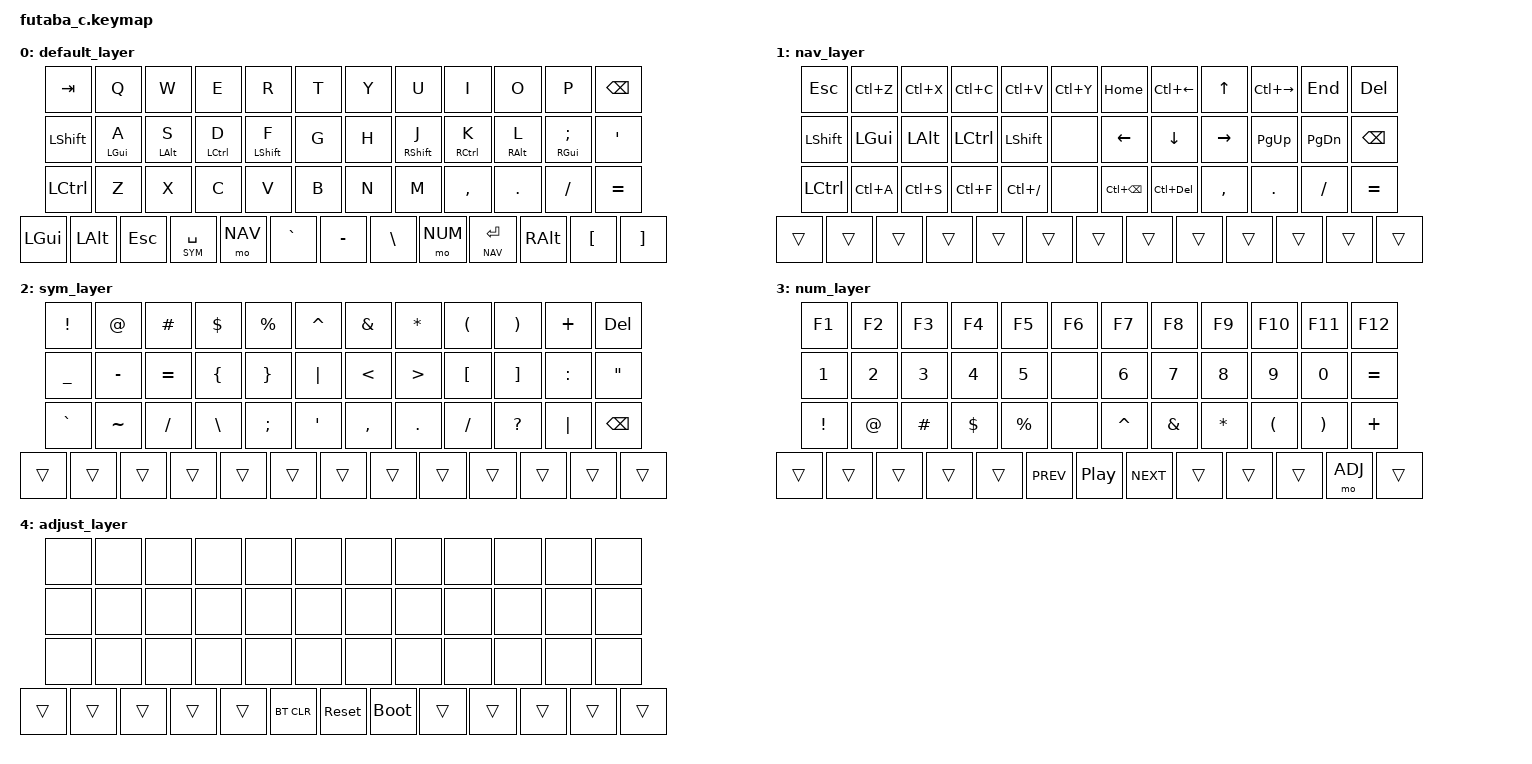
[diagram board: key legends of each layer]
/*
 * Copyright (c) 2026
 *
 * SPDX-License-Identifier: MIT
 */

#include <behaviors.dtsi>
#include <dt-bindings/zmk/bt.h>
#include <dt-bindings/zmk/keys.h>

#define NAV 1
#define SYM 2
#define NUM 3
#define ADJ 4

&lt { quick-tap-ms = <175>; };

&mt { quick-tap-ms = <175>; };

/ {
    behaviors {
        hm: homerow_mods {
            compatible = "zmk,behavior-hold-tap";
            flavor = "tap-preferred";
            tapping-term-ms = <220>;
            quick-tap-ms = <150>;
            require-prior-idle-ms = <120>;
            bindings = <&kp>, <&kp>;
        };
    };

    keymap {
        compatible = "zmk,keymap";

        default_layer {
            bindings = <
&kp TAB    &kp Q        &kp W        &kp E         &kp R          &kp T                  &kp Y      &kp U          &kp I          &kp O        &kp P          &kp BSPC
&kp LSHFT  &hm LGUI A   &hm LALT S   &hm LCTRL D   &hm LSHFT F    &kp G                  &kp H      &hm RSHFT J    &hm RCTRL K    &hm RALT L   &hm RGUI SEMI  &kp SQT
&kp LCTRL  &kp Z        &kp X        &kp C         &kp V          &kp B                  &kp N      &kp M          &kp COMMA      &kp DOT      &kp FSLH       &kp EQUAL
            &kp LGUI    &kp LALT     &kp ESC       &lt SYM SPACE  &mo NAV     &kp GRAVE   &kp MINUS  &kp BACKSLASH  &mo NUM        &lt NAV ENTER &kp RALT     &kp LBKT       &kp RBKT
            >;
        };

        nav_layer {
            bindings = <
&kp ESC    &kp LC(Z)    &kp LC(X)    &kp LC(C)     &kp LC(V)      &kp LC(Y)               &kp HOME   &kp LC(LEFT)   &kp UP         &kp LC(RIGHT) &kp END      &kp DEL
&kp LSHFT  &kp LGUI     &kp LALT     &kp LCTRL     &kp LSHFT      &none                   &kp LEFT   &kp DOWN       &kp RIGHT      &kp PG_UP     &kp PG_DN    &kp BSPC
&kp LCTRL  &kp LC(A)    &kp LC(S)    &kp LC(F)     &kp LC(FSLH)   &none                   &kp LC(BSPC) &kp LC(DEL)   &kp COMMA      &kp DOT       &kp FSLH     &kp EQUAL
            &trans      &trans       &trans        &trans         &trans       &trans      &trans     &trans         &trans         &trans        &trans       &trans        &trans
            >;
        };

        sym_layer {
            bindings = <
&kp EXCL   &kp AT       &kp HASH     &kp DLLR      &kp PRCNT      &kp CARET              &kp AMPS   &kp STAR       &kp LPAR       &kp RPAR      &kp PLUS     &kp DEL
&kp UNDER  &kp MINUS    &kp EQUAL    &kp LBRC      &kp RBRC       &kp PIPE               &kp LT     &kp GT         &kp LBKT       &kp RBKT      &kp COLON    &kp DQT
&kp GRAVE  &kp TILDE    &kp FSLH     &kp BACKSLASH &kp SEMI       &kp SQT                &kp COMMA  &kp DOT        &kp FSLH       &kp QUESTION  &kp PIPE     &kp BSPC
            &trans      &trans       &trans        &trans         &trans       &trans     &trans     &trans         &trans         &trans        &trans       &trans        &trans
            >;
        };

        num_layer {
            bindings = <
&kp F1     &kp F2       &kp F3       &kp F4        &kp F5         &kp F6                 &kp F7     &kp F8         &kp F9         &kp F10       &kp F11      &kp F12
&kp N1     &kp N2       &kp N3       &kp N4        &kp N5         &none                  &kp N6     &kp N7         &kp N8         &kp N9        &kp N0       &kp EQUAL
&kp EXCL   &kp AT       &kp HASH     &kp DLLR      &kp PRCNT      &none                  &kp CARET  &kp AMPS       &kp STAR       &kp LPAR      &kp RPAR     &kp PLUS
            &trans      &trans       &trans        &trans         &trans       &kp C_PREV &kp C_PP   &kp C_NEXT     &trans         &trans        &trans       &mo ADJ       &trans
            >;
        };

        adjust_layer {
            bindings = <
&none      &none        &none        &none         &none          &none                  &none      &none         &none          &none        &none       &none
&none      &none        &none        &none         &none          &none                  &none      &none         &none          &none        &none       &none
&none      &none        &none        &none         &none          &none                  &none      &none         &none          &none        &none       &none
            &trans      &trans       &trans        &trans         &trans       &bt BT_CLR &sys_reset &bootloader   &trans         &trans       &trans      &trans       &trans
            >;
        };
    };
};
